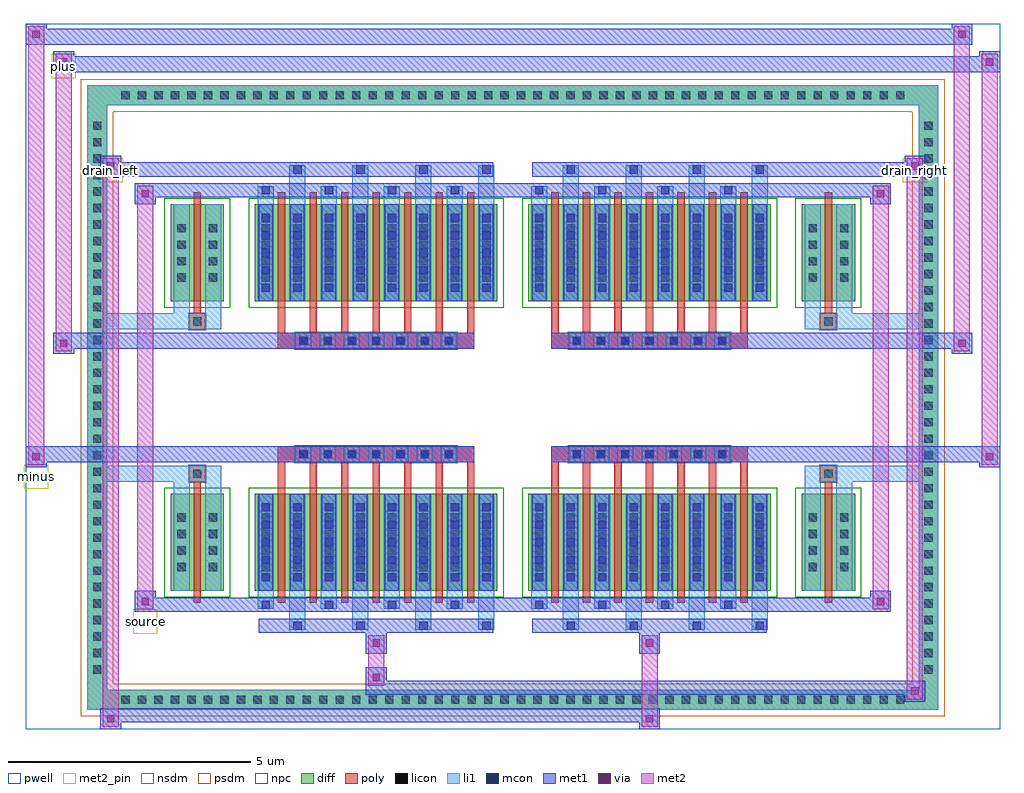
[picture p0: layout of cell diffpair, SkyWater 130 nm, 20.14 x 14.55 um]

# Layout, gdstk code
import gdstk
lib = gdstk.Library(unit=1e-6, precision=5e-09)
def R(c, l, rs):  # rectangles x0, y0, x1, y1
    for r in rs: c.add(gdstk.rectangle(r[:2], r[2:], *l))
def A(c, l, x, y, w, h, nx, ny, dx, dy):  # array of equal rectangles
    R(c, l, [(x+i*dx, y+j*dy, x+i*dx+w, y+j*dy+h) for i in range(nx) for j in range(ny)])
def P(c, l, *ps):  # polygons
    for p in ps: c.add(gdstk.Polygon(p, *l))
pwell = (64, 44)
diff = (65, 20)
poly = (66, 20)
licon = (66, 44)
li1 = (67, 20)
mcon = (67, 44)
met1 = (68, 20)
via = (68, 44)
met2_pin = (69, 16)
met2 = (69, 20)
nsdm = (93, 44)
psdm = (94, 20)
npc = (95, 20)

diffpair = lib.new_cell('diffpair')
R(diffpair, pwell, [(-10.05,-6.84,10.05,7.71), (-7.37,-5.03,-0.01,-0.805), (0.01,-5.03,7.37,-0.805), (-7.37,0.805,-0.01,5.03), (0.01,0.805,7.37,5.03)])
A(diffpair, diff, -8.195, -6.44, 0.41, 0.41, 48, 2, 0.34, 12.47)
A(diffpair, diff, -8.78, -5.815, 0.41, 0.41, 1, 34, 0, 0.34)
A(diffpair, diff, 8.37, -5.815, 0.41, 0.41, 1, 34, 0, 0.34)
R(diffpair, diff, [(-8.195,-6.44,8.195,-6.03), (-8.78,-5.815,-8.37,5.815), (8.37,-5.815,8.78,5.815), (-7.06,-3.985,-5.96,-1.985), (-5.32,-3.985,-0.32,-1.985), (0.32,-3.985,5.32,-1.985), (5.96,-3.985,7.06,-1.985), (-7.06,1.985,-5.96,3.985), (-5.32,1.985,-0.32,3.985), (0.32,1.985,5.32,3.985), (5.96,1.985,7.06,3.985), (-8.195,6.03,8.195,6.44)])
P(diffpair, diff, [(8.78,6.44),(-8.78,6.44),(-8.78,-6.03),(-8.37,-6.03),(-8.37,6.03),(8.37,6.03),(8.37,-6.03),(-8.37,-6.03),(-8.78,-6.03),(-8.78,-6.44),(8.78,-6.44)])
A(diffpair, poly, -4.845, -4.235, 0.15, 2.5, 7, 2, 0.65, 5.97)
A(diffpair, poly, 0.795, -4.235, 0.15, 2.5, 7, 2, 0.65, 5.97)
A(diffpair, poly, -4.845, -1.735, 0.15, 0.4, 7, 2, 0.65, 3.07)
A(diffpair, poly, 0.795, -1.735, 0.15, 0.4, 7, 2, 0.65, 3.07)
A(diffpair, poly, -4.485, -1.335, 0.33, 0.33, 7, 2, 0.5, 2.34)
A(diffpair, poly, 1.155, -1.335, 0.33, 0.33, 7, 2, 0.5, 2.34)
R(diffpair, poly, [(-6.585,-4.235,-6.435,-1.735), (6.435,-4.235,6.585,-1.735), (-6.675,-1.735,-6.345,-1.405), (-6.675,-1.735,-6.345,-1.405), (6.345,-1.735,6.675,-1.405), (6.345,-1.735,6.675,-1.405), (-4.845,-1.335,-0.795,-1.005), (0.795,-1.335,4.845,-1.005), (-4.845,1.005,-0.795,1.335), (0.795,1.005,4.845,1.335), (-6.675,1.405,-6.345,1.735), (-6.675,1.405,-6.345,1.735), (6.345,1.405,6.675,1.735), (6.345,1.405,6.675,1.735), (-6.585,1.735,-6.435,4.235), (6.435,1.735,6.585,4.235)])
A(diffpair, licon, -8.075, -6.32, 0.17, 0.17, 48, 2, 0.34, 12.47)
A(diffpair, licon, -8.66, -5.695, 0.17, 0.17, 1, 34, 0, 0.34)
A(diffpair, licon, 8.49, -5.695, 0.17, 0.17, 1, 34, 0, 0.34)
A(diffpair, licon, -6.92, -3.58, 0.17, 0.17, 1, 4, 0, 0.34)
A(diffpair, licon, -6.27, -3.58, 0.17, 0.17, 1, 4, 0, 0.34)
A(diffpair, licon, -5.18, -3.58, 0.17, 0.17, 8, 4, 0.65, 0.34)
A(diffpair, licon, 0.46, -3.58, 0.17, 0.17, 8, 4, 0.65, 0.34)
A(diffpair, licon, 6.1, -3.58, 0.17, 0.17, 1, 4, 0, 0.34)
A(diffpair, licon, 6.75, -3.58, 0.17, 0.17, 1, 4, 0, 0.34)
A(diffpair, licon, -4.405, -1.255, 0.17, 0.17, 7, 2, 0.5, 2.34)
A(diffpair, licon, 1.235, -1.255, 0.17, 0.17, 7, 2, 0.5, 2.34)
A(diffpair, licon, -6.92, 2.39, 0.17, 0.17, 1, 4, 0, 0.34)
A(diffpair, licon, -6.27, 2.39, 0.17, 0.17, 1, 4, 0, 0.34)
A(diffpair, licon, -5.18, 2.39, 0.17, 0.17, 8, 4, 0.65, 0.34)
A(diffpair, licon, 0.46, 2.39, 0.17, 0.17, 8, 4, 0.65, 0.34)
A(diffpair, licon, 6.1, 2.39, 0.17, 0.17, 1, 4, 0, 0.34)
A(diffpair, licon, 6.75, 2.39, 0.17, 0.17, 1, 4, 0, 0.34)
R(diffpair, licon, [(-6.595,-1.655,-6.425,-1.485), (6.425,-1.655,6.595,-1.485), (-6.595,1.485,-6.425,1.655), (6.425,1.485,6.595,1.655)])
A(diffpair, li1, -8.155, -6.4, 0.33, 0.33, 48, 2, 0.34, 12.47)
A(diffpair, li1, -8.74, -5.775, 0.33, 0.33, 1, 34, 0, 0.34)
A(diffpair, li1, 8.41, -5.775, 0.33, 0.33, 1, 34, 0, 0.34)
A(diffpair, li1, -4.61, -4.79, 0.33, 0.805, 4, 2, 1.3, 8.775)
A(diffpair, li1, -4.53, -4.79, 0.17, 0.17, 4, 2, 1.3, 9.41)
A(diffpair, li1, 1.03, -4.79, 0.33, 0.805, 4, 2, 1.3, 8.775)
A(diffpair, li1, 1.11, -4.79, 0.17, 0.17, 4, 2, 1.3, 9.41)
A(diffpair, li1, -5.26, -4.36, 0.33, 0.375, 4, 2, 1.3, 8.345)
A(diffpair, li1, -5.18, -4.36, 0.17, 0.17, 4, 2, 1.3, 8.55)
A(diffpair, li1, 0.38, -4.36, 0.33, 0.375, 4, 2, 1.3, 8.345)
A(diffpair, li1, 0.46, -4.36, 0.17, 0.17, 4, 2, 1.3, 8.55)
A(diffpair, li1, -5.26, -3.985, 0.33, 2, 8, 2, 0.65, 5.97)
A(diffpair, li1, 0.38, -3.985, 0.33, 2, 8, 2, 0.65, 5.97)
A(diffpair, li1, -5.18, -3.79, 0.17, 0.17, 8, 5, 0.65, 0.36)
A(diffpair, li1, -5.18, -3.79, 0.17, 1.61, 8, 2, 0.65, 5.97)
A(diffpair, li1, 0.46, -3.79, 0.17, 0.17, 8, 5, 0.65, 0.36)
A(diffpair, li1, 0.46, -3.79, 0.17, 1.61, 8, 2, 0.65, 5.97)
A(diffpair, li1, -7, -3.66, 0.33, 0.33, 1, 4, 0, 0.34)
A(diffpair, li1, -6.35, -3.66, 0.33, 0.33, 1, 4, 0, 0.34)
A(diffpair, li1, -5.26, -3.66, 0.33, 0.33, 8, 4, 0.65, 0.34)
A(diffpair, li1, 0.38, -3.66, 0.33, 0.33, 8, 4, 0.65, 0.34)
A(diffpair, li1, 6.02, -3.66, 0.33, 0.33, 1, 4, 0, 0.34)
A(diffpair, li1, 6.67, -3.66, 0.33, 0.33, 1, 4, 0, 0.34)
A(diffpair, li1, -4.485, -1.335, 0.33, 0.33, 7, 2, 0.5, 2.34)
A(diffpair, li1, 1.155, -1.335, 0.33, 0.33, 7, 2, 0.5, 2.34)
A(diffpair, li1, -5.18, 2.18, 0.17, 0.17, 8, 5, 0.65, 0.36)
A(diffpair, li1, 0.46, 2.18, 0.17, 0.17, 8, 5, 0.65, 0.36)
A(diffpair, li1, -7, 2.31, 0.33, 0.33, 1, 4, 0, 0.34)
A(diffpair, li1, -6.35, 2.31, 0.33, 0.33, 1, 4, 0, 0.34)
A(diffpair, li1, -5.26, 2.31, 0.33, 0.33, 8, 4, 0.65, 0.34)
A(diffpair, li1, 0.38, 2.31, 0.33, 0.33, 8, 4, 0.65, 0.34)
A(diffpair, li1, 6.02, 2.31, 0.33, 0.33, 1, 4, 0, 0.34)
A(diffpair, li1, 6.67, 2.31, 0.33, 0.33, 1, 4, 0, 0.34)
R(diffpair, li1, [(-8.78,-6.44,-8.37,-6.03), (-8.78,-6.44,-8.37,-6.03), (-8.37,-6.44,8.37,-6.03), (8.37,-6.44,8.78,-6.03), (8.37,-6.44,8.78,-6.03), (-8.78,-6.03,-8.37,6.03), (8.37,-6.03,8.78,6.03), (-7,-3.985,-6.67,-1.985), (-6.35,-3.985,-6.02,-1.985), (6.02,-3.985,6.35,-1.985), (6.67,-3.985,7,-1.985), (-7,-1.985,-6.67,-1.405), (-6.35,-1.985,-6.02,-1.405), (6.02,-1.985,6.35,-1.405), (6.67,-1.985,7,-1.405), (-8.78,-1.735,-6.675,-1.405), (-7,-1.735,-6.675,-1.405), (-6.675,-1.735,-6.345,-1.405), (-6.345,-1.735,-6.02,-1.405), (6.02,-1.735,6.345,-1.405), (6.345,-1.735,6.675,-1.405), (6.345,-1.735,8.78,-1.405), (6.675,-1.735,7,-1.405), (-8.78,1.405,-6.675,1.735), (-7,1.405,-6.675,1.735), (-7,1.405,-6.67,1.985), (-6.675,1.405,-6.345,1.735), (-6.35,1.405,-6.02,1.985), (-6.345,1.405,-6.02,1.735), (6.02,1.405,6.345,1.735), (6.02,1.405,6.35,1.985), (6.345,1.405,6.675,1.735), (6.345,1.405,8.78,1.735), (6.67,1.405,7,1.985), (6.675,1.405,7,1.735), (-7,1.985,-6.67,3.985), (-6.35,1.985,-6.02,3.985), (6.02,1.985,6.35,3.985), (6.67,1.985,7,3.985), (-8.78,6.03,-8.37,6.44), (-8.78,6.03,-8.37,6.44), (-8.37,6.03,8.37,6.44), (8.37,6.03,8.78,6.44), (8.37,6.03,8.78,6.44)])
A(diffpair, mcon, -4.53, -4.79, 0.17, 0.17, 4, 2, 1.3, 9.41)
A(diffpair, mcon, 1.11, -4.79, 0.17, 0.17, 4, 2, 1.3, 9.41)
A(diffpair, mcon, -5.18, -4.36, 0.17, 0.17, 4, 2, 1.3, 8.55)
A(diffpair, mcon, 0.46, -4.36, 0.17, 0.17, 4, 2, 1.3, 8.55)
A(diffpair, mcon, -5.18, -3.79, 0.17, 0.17, 8, 5, 0.65, 0.36)
A(diffpair, mcon, 0.46, -3.79, 0.17, 0.17, 8, 5, 0.65, 0.36)
A(diffpair, mcon, -4.405, -1.255, 0.17, 0.17, 7, 2, 0.5, 2.34)
A(diffpair, mcon, 1.235, -1.255, 0.17, 0.17, 7, 2, 0.5, 2.34)
A(diffpair, mcon, -5.18, 2.18, 0.17, 0.17, 8, 5, 0.65, 0.36)
A(diffpair, mcon, 0.46, 2.18, 0.17, 0.17, 8, 5, 0.65, 0.36)
A(diffpair, met1, -4.59, -4.85, 0.29, 0.29, 4, 2, 1.3, 9.41)
A(diffpair, met1, 1.05, -4.85, 0.29, 0.29, 4, 2, 1.3, 9.41)
A(diffpair, met1, -5.24, -4.42, 0.29, 0.29, 4, 2, 1.3, 8.55)
A(diffpair, met1, 0.4, -4.42, 0.29, 0.29, 4, 2, 1.3, 8.55)
A(diffpair, met1, -5.24, -3.985, 0.29, 2, 8, 2, 0.65, 5.97)
A(diffpair, met1, 0.4, -3.985, 0.29, 2, 8, 2, 0.65, 5.97)
A(diffpair, met1, -5.24, -3.85, 0.29, 0.29, 8, 5, 0.65, 0.36)
A(diffpair, met1, 0.4, -3.85, 0.29, 0.29, 8, 5, 0.65, 0.36)
A(diffpair, met1, -4.465, -1.315, 0.29, 0.29, 7, 2, 0.5, 2.34)
A(diffpair, met1, 1.175, -1.315, 0.29, 0.29, 7, 2, 0.5, 2.34)
A(diffpair, met1, -5.24, 2.12, 0.29, 0.29, 8, 5, 0.65, 0.36)
A(diffpair, met1, 0.4, 2.12, 0.29, 0.29, 8, 5, 0.65, 0.36)
R(diffpair, met1, [(-8.51,-6.84,-8.08,-6.41), (2.605,-6.84,3.035,-6.41), (-8.51,-6.7,3.035,-6.41), (8.08,-6.27,8.51,-5.84), (-3.035,-6.13,8.51,-5.84), (-3.035,-5.99,-2.605,-5.56), (-3.035,-5.28,-2.605,-4.85), (2.605,-5.28,3.035,-4.85), (-5.24,-4.85,-0.4,-4.56), (0.4,-4.85,5.24,-4.56), (-7.8,-4.42,-7.37,-3.99), (-7.8,-4.42,-5.24,-4.13), (-5.24,-4.42,-0.4,-4.13), (-0.4,-4.42,0.4,-4.13), (0.4,-4.42,5.24,-4.13), (5.24,-4.42,7.8,-4.13), (7.37,-4.42,7.8,-3.99), (-10.05,-1.435,-9.62,-1.005), (9.62,-1.435,10.05,-1.005), (-10.05,-1.335,-0.795,-1.005), (-4.845,-1.335,-0.795,-1.005), (0.795,-1.335,4.845,-1.005), (0.795,-1.335,10.05,-1.005), (-9.48,0.905,-9.05,1.335), (9.05,0.905,9.48,1.335), (-9.48,1.005,-4.845,1.335), (-4.845,1.005,-0.795,1.335), (0.795,1.005,4.845,1.335), (4.845,1.005,9.48,1.335), (-7.8,3.99,-7.37,4.42), (7.37,3.99,7.8,4.42), (-7.8,4.13,-5.24,4.42), (-5.24,4.13,-0.4,4.42), (-0.4,4.13,0.4,4.42), (0.4,4.13,5.24,4.42), (5.24,4.13,7.8,4.42), (-8.51,4.56,-8.08,4.99), (-8.51,4.56,-5.24,4.85), (-5.24,4.56,-0.4,4.85), (0.4,4.56,5.24,4.85), (5.24,4.56,8.51,4.85), (8.08,4.56,8.51,4.99), (-9.48,6.71,-9.05,7.14), (-9.48,6.71,-7.37,7.04), (-7.37,6.71,7.37,7.04), (7.37,6.71,10.05,7.04), (9.62,6.71,10.05,7.14), (-10.05,7.28,-9.62,7.71), (-10.05,7.28,-7.37,7.61), (-7.37,7.28,7.37,7.61), (7.37,7.28,9.48,7.61), (9.05,7.28,9.48,7.71)])
R(diffpair, via, [(-8.37,-6.7,-8.22,-6.55), (2.745,-6.7,2.895,-6.55), (8.22,-6.13,8.37,-5.98), (-2.895,-5.85,-2.745,-5.7), (-2.895,-5.14,-2.745,-4.99), (2.745,-5.14,2.895,-4.99), (-7.66,-4.28,-7.51,-4.13), (7.51,-4.28,7.66,-4.13), (-9.91,-1.295,-9.76,-1.145), (9.76,-1.295,9.91,-1.145), (-9.34,1.045,-9.19,1.195), (9.19,1.045,9.34,1.195), (-7.66,4.13,-7.51,4.28), (7.51,4.13,7.66,4.28), (-8.37,4.7,-8.22,4.85), (8.22,4.7,8.37,4.85), (-9.34,6.85,-9.19,7), (9.76,6.85,9.91,7), (-9.91,7.42,-9.76,7.57), (9.19,7.42,9.34,7.57)])
R(diffpair, met2_pin, [(-7.835,-4.87,-7.335,-4.37), (-10.085,-1.885,-9.585,-1.385), (-8.545,4.44,-8.045,4.94), (8.045,4.44,8.545,4.94), (-9.515,6.59,-9.015,7.09)])
R(diffpair, met2, [(-8.46,-6.79,-8.13,-6.46), (-8.46,-6.79,-8.13,4.94), (2.655,-6.79,2.985,-6.46), (2.655,-6.46,2.985,-5.23), (8.13,-6.22,8.46,-5.89), (8.13,-6.22,8.46,4.94), (-2.985,-5.94,-2.655,-5.61), (-2.985,-5.61,-2.655,-5.23), (-2.985,-5.23,-2.655,-4.9), (2.655,-5.23,2.985,-4.9), (-7.75,-4.37,-7.42,-4.04), (-7.75,-4.37,-7.42,4.37), (7.42,-4.37,7.75,-4.04), (7.42,-4.37,7.75,4.37), (-10,-1.385,-9.67,-1.055), (-10,-1.385,-9.67,7.66), (9.67,-1.385,10,-1.055), (9.67,-1.385,10,7.09), (-9.43,0.955,-9.1,1.285), (-9.43,0.955,-9.1,7.09), (9.1,0.955,9.43,1.285), (9.1,0.955,9.43,7.66), (-7.75,4.04,-7.42,4.37), (7.42,4.04,7.75,4.37), (-8.46,4.61,-8.13,4.94), (8.13,4.61,8.46,4.94), (-9.43,6.76,-9.1,7.09), (9.67,6.76,10,7.09), (-10,7.33,-9.67,7.66), (9.1,7.33,9.43,7.66)])
P(diffpair, met2, [(10,-1.385),(10,-1.385),(10,-1.055),(10,-1.055)],
  [(10,6.76),(10,6.76),(10,7.09),(10,7.09)],
  [(-9.67,-1.385),(-9.67,-1.385),(-9.67,-1.055),(-9.67,-1.055)],
  [(-9.67,7.33),(-9.67,7.33),(-9.67,7.66),(-9.67,7.66)],
  [(9.43,0.955),(9.43,0.955),(9.43,1.285),(9.43,1.285)],
  [(9.43,7.33),(9.43,7.33),(9.43,7.66),(9.43,7.66)],
  [(-9.1,0.955),(-9.1,0.955),(-9.1,1.285),(-9.1,1.285)],
  [(-9.1,6.76),(-9.1,6.76),(-9.1,7.09),(-9.1,7.09)],
  [(-8.13,-6.79),(-8.13,-6.79),(-8.13,-6.46),(-8.13,-6.46)],
  [(-8.13,4.61),(-8.13,4.61),(-8.13,4.94),(-8.13,4.94)],
  [(8.46,-6.22),(8.46,-6.22),(8.46,-5.89),(8.46,-5.89)],
  [(8.46,4.61),(8.46,4.61),(8.46,4.94),(8.46,4.94)],
  [(-7.42,-4.37),(-7.42,-4.37),(-7.42,-4.04),(-7.42,-4.04)],
  [(-7.42,4.04),(-7.42,4.04),(-7.42,4.37),(-7.42,4.37)],
  [(7.75,-4.37),(7.75,-4.37),(7.75,-4.04),(7.75,-4.04)],
  [(7.75,4.04),(7.75,4.04),(7.75,4.37),(7.75,4.37)])
R(diffpair, nsdm, [(-7.19,-4.115,-5.83,-1.855), (-5.45,-4.115,-0.19,-1.855), (0.19,-4.115,5.45,-1.855), (5.83,-4.115,7.19,-1.855), (-7.19,1.855,-5.83,4.115), (-5.45,1.855,-0.19,4.115), (0.19,1.855,5.45,4.115), (5.83,1.855,7.19,4.115)])
P(diffpair, psdm, [(8.91,6.57),(-8.91,6.57),(-8.91,-5.9),(-8.24,-5.9),(-8.24,5.9),(8.24,5.9),(8.24,-5.9),(-8.24,-5.9),(-8.91,-5.9),(-8.91,-6.57),(8.91,-6.57)])
A(diffpair, npc, -4.505, -1.355, 0.37, 0.37, 7, 2, 0.5, 2.34)
A(diffpair, npc, 1.135, -1.355, 0.37, 0.37, 7, 2, 0.5, 2.34)
R(diffpair, npc, [(-6.695,-1.755,-6.325,-1.385), (6.325,-1.755,6.695,-1.385), (-4.505,-1.355,-3.635,-0.985), (-4.505,-1.355,-3.635,-0.985), (-4.005,-1.355,-3.135,-0.985), (-4.005,-1.355,-3.135,-0.985), (-3.505,-1.355,-2.635,-0.985), (-3.505,-1.355,-2.635,-0.985), (-3.005,-1.355,-2.135,-0.985), (-3.005,-1.355,-2.135,-0.985), (-2.505,-1.355,-1.635,-0.985), (-2.505,-1.355,-1.635,-0.985), (-2.005,-1.355,-1.135,-0.985), (-2.005,-1.355,-1.135,-0.985), (1.135,-1.355,2.005,-0.985), (1.135,-1.355,2.005,-0.985), (1.635,-1.355,2.505,-0.985), (1.635,-1.355,2.505,-0.985), (2.135,-1.355,3.005,-0.985), (2.135,-1.355,3.005,-0.985), (2.635,-1.355,3.505,-0.985), (2.635,-1.355,3.505,-0.985), (3.135,-1.355,4.005,-0.985), (3.135,-1.355,4.005,-0.985), (3.635,-1.355,4.505,-0.985), (3.635,-1.355,4.505,-0.985), (-4.505,0.985,-3.635,1.355), (-4.505,0.985,-3.635,1.355), (-4.005,0.985,-3.135,1.355), (-4.005,0.985,-3.135,1.355), (-3.505,0.985,-2.635,1.355), (-3.505,0.985,-2.635,1.355), (-3.005,0.985,-2.135,1.355), (-3.005,0.985,-2.135,1.355), (-2.505,0.985,-1.635,1.355), (-2.505,0.985,-1.635,1.355), (-2.005,0.985,-1.135,1.355), (-2.005,0.985,-1.135,1.355), (1.135,0.985,2.005,1.355), (1.135,0.985,2.005,1.355), (1.635,0.985,2.505,1.355), (1.635,0.985,2.505,1.355), (2.135,0.985,3.005,1.355), (2.135,0.985,3.005,1.355), (2.635,0.985,3.505,1.355), (2.635,0.985,3.505,1.355), (3.135,0.985,4.005,1.355), (3.135,0.985,4.005,1.355), (3.635,0.985,4.505,1.355), (3.635,0.985,4.505,1.355), (-6.695,1.385,-6.325,1.755), (6.325,1.385,6.695,1.755)])
diffpair.add(gdstk.Label('minus', (-9.835,-1.635), layer=69, texttype=5))
diffpair.add(gdstk.Label('drain_right', (8.295,4.69), layer=69, texttype=5))
diffpair.add(gdstk.Label('drain_left', (-8.295,4.69), layer=69, texttype=5))
diffpair.add(gdstk.Label('source', (-7.585,-4.62), layer=69, texttype=5))
diffpair.add(gdstk.Label('plus', (-9.265,6.84), layer=69, texttype=5))

lib.write_gds('diffpair.gds')
